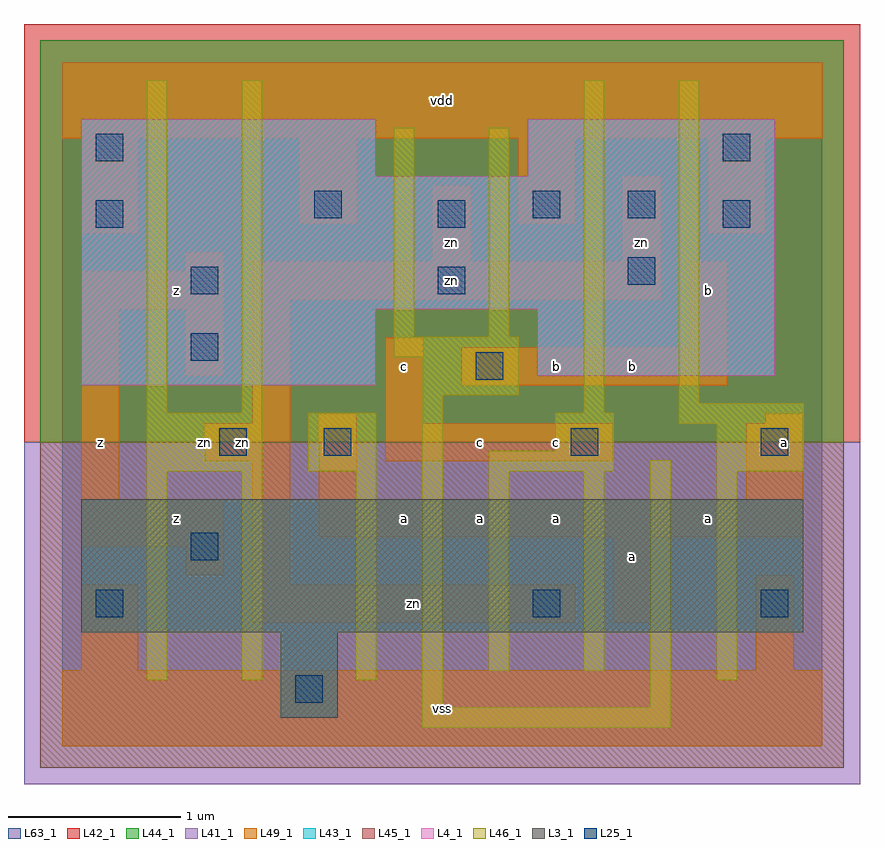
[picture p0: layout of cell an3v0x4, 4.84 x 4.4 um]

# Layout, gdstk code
import gdstk
lib = gdstk.Library(unit=1e-6, precision=1e-09)
def R(c, l, rs):  # rectangles x0, y0, x1, y1
    for r in rs: c.add(gdstk.rectangle(r[:2], r[2:], *l))
L3_1 = (3, 1)
L4_1 = (4, 1)
L25_1 = (25, 1)
L41_1 = (41, 1)
L42_1 = (42, 1)
L43_1 = (43, 1)
L44_1 = (44, 1)
L45_1 = (45, 1)
L46_1 = (46, 1)
L49_1 = (49, 1)
L63_1 = (63, 1)

an3v0x4 = lib.new_cell('an3v0x4')
R(an3v0x4, L3_1, [(1.265,0.165,1.595,0.66), (0.11,0.66,4.29,1.43)])
R(an3v0x4, L4_1, [(0.11,2.09,1.815,2.53), (2.75,2.145,4.125,2.53), (0.11,2.53,4.125,3.3), (0.11,3.3,1.815,3.63), (2.695,3.3,4.125,3.63)])
R(an3v0x4, L25_1, [(1.35,0.25,1.51,0.41), (0.195,0.745,0.355,0.905), (2.725,0.745,2.885,0.905), (4.045,0.745,4.205,0.905), (0.745,1.075,0.905,1.235), (0.91,1.68,1.07,1.84), (1.515,1.68,1.675,1.84), (2.945,1.68,3.105,1.84), (4.045,1.68,4.205,1.84), (2.395,2.12,2.555,2.28), (0.745,2.23,0.905,2.39), (0.745,2.615,0.905,2.775), (2.175,2.615,2.335,2.775), (3.275,2.67,3.435,2.83), (0.195,3,0.355,3.16), (2.175,3,2.335,3.16), (3.825,3,3.985,3.16), (1.46,3.055,1.62,3.215), (2.725,3.055,2.885,3.215), (3.275,3.055,3.435,3.215), (0.195,3.385,0.355,3.545), (3.825,3.385,3.985,3.545)])
R(an3v0x4, L41_1, [(-0.22,-0.22,4.62,1.76)])
R(an3v0x4, L42_1, [(-0.22,1.76,4.62,4.18)])
R(an3v0x4, L43_1, [(1.265,0.165,1.595,0.66), (0.11,0.66,4.29,1.43), (0.11,2.09,1.815,2.53), (2.75,2.145,4.125,2.53), (0.11,2.53,4.125,3.3), (0.11,3.3,1.815,3.63), (2.695,3.3,4.125,3.63)])
R(an3v0x4, L44_1, [(-0.125,1.76,4.525,4.085)])
R(an3v0x4, L45_1, [(-0.125,-0.125,4.525,1.76)])
R(an3v0x4, L46_1, [(2.085,0.105,3.525,0.225), (2.085,0.225,2.205,2.03), (3.405,0.225,3.525,1.655), (0.49,0.38,0.61,1.59), (1.04,0.38,1.16,1.59), (1.7,0.38,1.82,1.59), (3.79,0.38,3.91,1.59), (2.47,0.435,2.59,1.59), (3.02,0.435,3.14,1.59), (0.49,1.59,1.16,1.93), (1.425,1.59,1.82,1.93), (2.47,1.59,3.195,1.71), (3.79,1.59,4.295,1.865), (2.855,1.71,3.195,1.93), (3.57,1.865,4.295,1.985), (0.49,1.93,0.61,3.855), (1.04,1.93,1.16,3.855), (3.02,1.93,3.14,3.855), (3.57,1.985,3.69,3.855), (2.085,2.03,2.645,2.25), (1.92,2.25,2.645,2.37), (1.92,2.37,2.04,3.58), (2.47,2.37,2.59,3.58)])
R(an3v0x4, L49_1, [(0,0,4.4,0.44), (0.11,0.44,0.44,0.935), (4.015,0.44,4.235,0.99), (1.1,0.715,2.97,0.935), (3.19,0.715,3.41,1.21), (1.1,0.935,1.32,1.65), (0.715,0.99,0.935,1.155), (0.11,1.155,0.935,1.43), (1.485,1.21,4.29,1.43), (0.11,1.43,0.33,2.53), (1.485,1.43,1.705,1.925), (3.96,1.43,4.29,1.87), (0.825,1.65,1.32,1.87), (1.87,1.65,3.19,1.87), (1.1,1.87,1.32,2.585), (1.87,1.87,2.09,2.365), (4.07,1.87,4.29,1.925), (2.31,2.09,3.85,2.31), (0.715,2.145,0.935,2.53), (3.63,2.31,3.85,2.805), (0.11,2.53,0.935,2.75), (1.1,2.585,3.465,2.805), (0.715,2.75,0.935,2.86), (2.145,2.805,2.365,3.245), (3.245,2.805,3.465,3.3), (0.11,2.97,0.44,3.52), (3.74,2.97,4.07,3.52), (1.375,3.025,1.705,3.52), (2.64,3.025,2.97,3.52), (0,3.52,4.4,3.96)])
R(an3v0x4, L63_1, [(0,0,4.4,3.96)])
an3v0x4.add(gdstk.Label('zn', (0.825,1.76), layer=46, texttype=1))
an3v0x4.add(gdstk.Label('z', (0.22,1.76), layer=49, texttype=1))
an3v0x4.add(gdstk.Label('z', (0.66,1.32), layer=49, texttype=1))
an3v0x4.add(gdstk.Label('zn', (1.045,1.76), layer=49, texttype=1))
an3v0x4.add(gdstk.Label('z', (0.66,2.64), layer=49, texttype=1))
an3v0x4.add(gdstk.Label('vss', (2.2,0.22), layer=49, texttype=1))
an3v0x4.add(gdstk.Label('a', (2.42,1.32), layer=49, texttype=1))
an3v0x4.add(gdstk.Label('a', (1.98,1.32), layer=49, texttype=1))
an3v0x4.add(gdstk.Label('c', (2.42,1.76), layer=49, texttype=1))
an3v0x4.add(gdstk.Label('c', (1.98,2.2), layer=49, texttype=1))
an3v0x4.add(gdstk.Label('zn', (2.255,2.915), layer=49, texttype=1))
an3v0x4.add(gdstk.Label('vdd', (2.2,3.74), layer=49, texttype=1))
an3v0x4.add(gdstk.Label('zn', (2.035,0.825), layer=49, texttype=1))
an3v0x4.add(gdstk.Label('a', (2.86,1.32), layer=49, texttype=1))
an3v0x4.add(gdstk.Label('a', (3.3,1.1), layer=49, texttype=1))
an3v0x4.add(gdstk.Label('c', (2.86,1.76), layer=49, texttype=1))
an3v0x4.add(gdstk.Label('b', (2.86,2.2), layer=49, texttype=1))
an3v0x4.add(gdstk.Label('b', (3.3,2.2), layer=49, texttype=1))
an3v0x4.add(gdstk.Label('zn', (2.255,2.695), layer=49, texttype=1))
an3v0x4.add(gdstk.Label('zn', (3.355,2.915), layer=49, texttype=1))
an3v0x4.add(gdstk.Label('a', (3.74,1.32), layer=49, texttype=1))
an3v0x4.add(gdstk.Label('a', (4.18,1.76), layer=49, texttype=1))
an3v0x4.add(gdstk.Label('b', (3.74,2.64), layer=49, texttype=1))

lib.write_gds('an3v0x4.gds')
